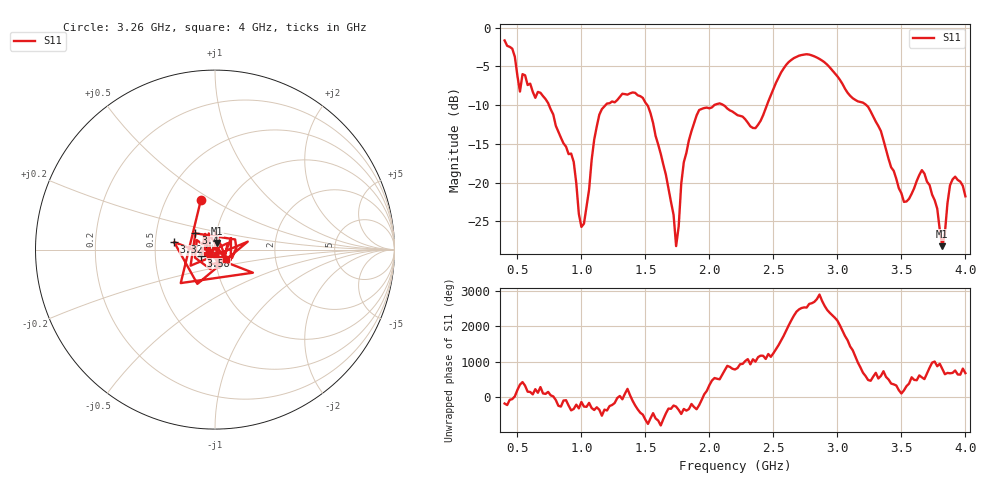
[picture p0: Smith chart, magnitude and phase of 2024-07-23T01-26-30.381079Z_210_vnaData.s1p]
!Created with skrf (http://scikit-rf.org).
# Hz S RI R 50.0
!freq ReS11 ImS11
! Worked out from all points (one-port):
!   181 points, 400 MHz to 4 GHz, reference 50 ohm
!   lowest |S11| = -28.2 dB at 3.82 GHz (marker M1), VSWR 1.08, Z = 50.9 + j3.83 ohm
!   |S11| at or under -10 dB: 746.6 MHz to 1.188 GHz (441.7 MHz wide, 45.7 % of centre); 1.515 GHz to 2.038 GHz (523.6 MHz wide, 29.5 % of centre); 3.226 GHz to end of sweep (the widest 3 of 4)
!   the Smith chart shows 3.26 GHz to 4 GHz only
!   S11 on the Smith chart (normalised r, x): 3.26 GHz: 0.74, +0.45; 3.32 GHz: 0.63, +0.06; 3.4 GHz: 0.79, +0.15; 3.58 GHz: 0.85, -0.06; 4 GHz: 1.13, -0.12
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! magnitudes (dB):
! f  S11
! 400 MHz  -1.7
! 480 MHz  -3.8
! 520 MHz  -8.3
! 680 MHz  -8.4
! 860 MHz  -14.9
! 940 MHz  -17.3
! 1 GHz  -25.7
! 1.14 GHz  -11.2
! 1.3 GHz  -8.9
! 1.52 GHz  -10.1
! 1.66 GHz  -19.0
! 1.74 GHz  -28.2
! 1.76 GHz  -25.6
! 1.8 GHz  -17.4
! 1.92 GHz  -10.6
! 2.2 GHz  -11.1
! 2.36 GHz  -13.0
! 2.66 GHz  -3.9
! 3.1 GHz  -8.8
! 3.26 GHz  -10.8
! 3.32 GHz  -12.7
! 3.4 GHz  -17.0
! 3.56 GHz  -22.1
! 3.58 GHz  -21.4
! 3.68 GHz  -18.8
! 3.82 GHz  -28.2
! 3.9 GHz  -19.6
! 4 GHz  -21.8
